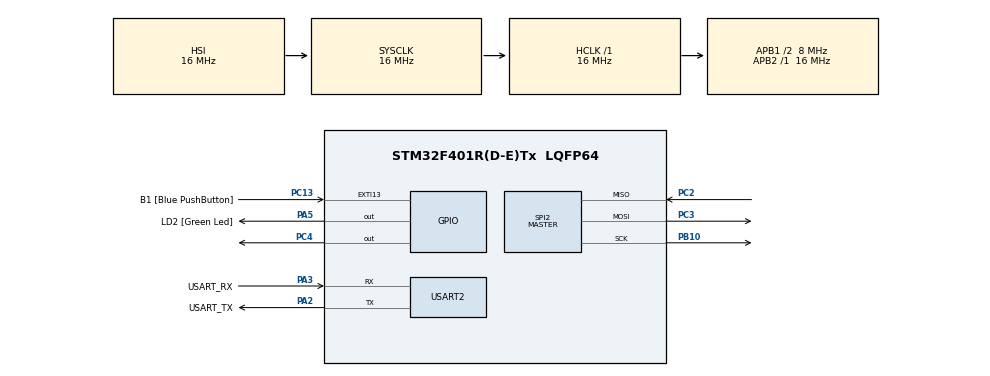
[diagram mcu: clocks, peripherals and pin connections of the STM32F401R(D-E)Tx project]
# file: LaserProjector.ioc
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FREERTOS.Mutexes01=AnimationBufferMutex,Dynamic,NULL
FREERTOS.Tasks01=ildaTransferTas,0,128,ILDATransferTask,Default,NULL,Dynamic,NULL,NULL;ildaDeviceDrive,-3,128,ILDADeviceDriver,Default,NULL,Dynamic,NULL,NULL
Mcu.Family=STM32F4
Mcu.Name=STM32F401R(D-E)Tx
Mcu.Package=LQFP64
NVIC.PriorityGroup=NVIC_PRIORITYGROUP_4
NVIC.TIM1_UP_TIM10_IRQn=true\:0\:0\:false\:false\:true\:false\:false\:true
NVIC.TimeBase=TIM1_UP_TIM10_IRQn
NVIC.TimeBaseIP=TIM1
PA13.GPIO_Label=TMS
PA13.Mode=Serial_Wire
PA13.Signal=SYS_JTMS-SWDIO
PA14.GPIO_Label=TCK
PA14.Mode=Serial_Wire
PA14.Signal=SYS_JTCK-SWCLK
PA2.GPIO_Label=USART_TX
PA2.GPIO_Mode=GPIO_MODE_AF_PP
PA2.GPIO_PuPd=GPIO_NOPULL
PA2.GPIO_Speed=GPIO_SPEED_FREQ_LOW
PA2.Mode=Asynchronous
PA2.Signal=USART2_TX
PA3.GPIO_Label=USART_RX
PA3.GPIO_Mode=GPIO_MODE_AF_PP
PA3.GPIO_PuPd=GPIO_NOPULL
PA3.GPIO_Speed=GPIO_SPEED_FREQ_LOW
PA3.Mode=Asynchronous
PA3.Signal=USART2_RX
PA5.GPIO_Label=LD2 [Green Led]
PA5.GPIO_Mode=GPIO_MODE_OUTPUT_PP
PA5.GPIO_PuPd=GPIO_NOPULL
PA5.GPIO_Speed=GPIO_SPEED_FREQ_LOW
PA5.Signal=GPIO_Output
PB10.Mode=Full_Duplex_Master
PB10.Signal=SPI2_SCK
PB3.GPIO_Label=SWO
PB3.Signal=SYS_JTDO-SWO
PC13-ANTI_TAMP.GPIO_Label=B1 [Blue PushButton]
PC13-ANTI_TAMP.GPIO_ModeDefaultEXTI=GPIO_MODE_IT_FALLING
PC13-ANTI_TAMP.GPIO_PuPd=GPIO_NOPULL
PC13-ANTI_TAMP.Signal=GPXTI13
PC14-OSC32_IN.Mode=LSE-External-Oscillator
PC14-OSC32_IN.Signal=RCC_OSC32_IN
PC15-OSC32_OUT.Mode=LSE-External-Oscillator
PC15-OSC32_OUT.Signal=RCC_OSC32_OUT
PC2.Mode=Full_Duplex_Master
PC2.Signal=SPI2_MISO
PC3.Mode=Full_Duplex_Master
PC3.Signal=SPI2_MOSI
PC4.Signal=GPIO_Output
PH0\ -\ OSC_IN.Mode=HSE-External-Clock-Source
PH0\ -\ OSC_IN.Signal=RCC_OSC_IN
PH1\ -\ OSC_OUT.Mode=HSE-External-Clock-Source
PH1\ -\ OSC_OUT.Signal=RCC_OSC_OUT
ProjectManager.HeapSize=0x200
ProjectManager.StackSize=0x400
ProjectManager.TargetToolchain=SW4STM32
RCC.48MHZClocksFreq_Value=48000000
RCC.AHBFreq_Value=16000000
RCC.APB1CLKDivider=RCC_HCLK_DIV2
RCC.APB1Freq_Value=8000000
RCC.APB1TimFreq_Value=16000000
RCC.APB2Freq_Value=16000000
RCC.APB2TimFreq_Value=16000000
RCC.CortexFreq_Value=16000000
RCC.HCLKFreq_Value=16000000
RCC.HSE_VALUE=8000000
RCC.HSI_VALUE=16000000
RCC.PLLM=4
RCC.PLLN=72
RCC.PLLP=RCC_PLLP_DIV4
RCC.PLLQ=3
RCC.PLLSourceVirtual=RCC_PLLSOURCE_HSE
RCC.SYSCLKFreq_VALUE=16000000
RCC.VCOOutputFreq_Value=144000000
SPI2.Direction=SPI_DIRECTION_2LINES
SPI2.Mode=SPI_MODE_MASTER
SPI2.VirtualType=VM_MASTER
USART2.VirtualMode=VM_ASYNC
VP_FREERTOS_VS_CMSIS_V1.Mode=CMSIS_V1
VP_SYS_VS_tim1.Mode=TIM1
board=NUCLEO-F401RE

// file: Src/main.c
/* USER CODE BEGIN Header */
/**
 ******************************************************************************
 * @file           : main.c
 * @brief          : Main program body
 ******************************************************************************
 * @attention
 *
 * <h2><center>&copy; Copyright (c) 2019 STMicroelectronics.
 * All rights reserved.</center></h2>
 *
 * This software component is licensed by ST under Ultimate Liberty license
 * SLA0044, the "License"; You may not use this file except in compliance with
 * the License. You may obtain a copy of the License at:
 *                             www.st.com/SLA0044
 *
 ******************************************************************************
 */
/* USER CODE END Header */

#include "main.h"
#include "cmsis_os.h"

/* USER CODE BEGIN Includes */
#include "cobs.h"
/* USER CODE END Includes */

/* USER CODE BEGIN PM */
#define READ_TIMEOUT 1000
/* USER CODE END PM */

SPI_HandleTypeDef hspi2;

UART_HandleTypeDef huart2;

osThreadId ildaTransferTasHandle;
osThreadId ildaDeviceDriveHandle;
osMutexId AnimationBufferMutexHandle;

void SystemClock_Config(void);
static void MX_GPIO_Init(void);
static void MX_USART2_UART_Init(void);
static void MX_SPI2_Init(void);
void ILDATransferTask(void const * argument);
void ILDADeviceDriver(void const * argument);

int main(void)
{

  /* MCU Configuration--------------------------------------------------------*/

  /* Reset of all peripherals, Initializes the Flash interface and the Systick. */
  HAL_Init();

  /* Configure the system clock */
  SystemClock_Config();

  /* Initialize all configured peripherals */
  MX_GPIO_Init();
  MX_USART2_UART_Init();
  MX_SPI2_Init();

  /* Create the mutex(es) */
  /* definition and creation of AnimationBufferMutex */
  osMutexDef(AnimationBufferMutex);
  AnimationBufferMutexHandle = osMutexCreate(osMutex(AnimationBufferMutex));

  /* Create the thread(s) */
  /* definition and creation of ildaTransferTas */
  osThreadDef(ildaTransferTas, ILDATransferTask, osPriorityNormal, 0, 128);
  ildaTransferTasHandle = osThreadCreate(osThread(ildaTransferTas), NULL);

  /* definition and creation of ildaDeviceDrive */
  osThreadDef(ildaDeviceDrive, ILDADeviceDriver, osPriorityIdle, 0, 128);
  ildaDeviceDriveHandle = osThreadCreate(osThread(ildaDeviceDrive), NULL);

  /* Start scheduler */
  osKernelStart();

  /* We should never get here as control is now taken by the scheduler */

  /* Infinite loop */
	while (1) {

	}
}

void SystemClock_Config(void)
{
  RCC_OscInitTypeDef RCC_OscInitStruct = {0};
  RCC_ClkInitTypeDef RCC_ClkInitStruct = {0};

  /** Configure the main internal regulator output voltage
  */
  __HAL_RCC_PWR_CLK_ENABLE();
  __HAL_PWR_VOLTAGESCALING_CONFIG(PWR_REGULATOR_VOLTAGE_SCALE2);
  /** Initializes the CPU, AHB and APB busses clocks
  */
  RCC_OscInitStruct.OscillatorType = RCC_OSCILLATORTYPE_HSI;
  RCC_OscInitStruct.HSIState = RCC_HSI_ON;
  RCC_OscInitStruct.HSICalibrationValue = RCC_HSICALIBRATION_DEFAULT;
  RCC_OscInitStruct.PLL.PLLState = RCC_PLL_NONE;
  if (HAL_RCC_OscConfig(&RCC_OscInitStruct) != HAL_OK)
  {
    Error_Handler();
  }
  /** Initializes the CPU, AHB and APB busses clocks
  */
  RCC_ClkInitStruct.ClockType = RCC_CLOCKTYPE_HCLK|RCC_CLOCKTYPE_SYSCLK
                              |RCC_CLOCKTYPE_PCLK1|RCC_CLOCKTYPE_PCLK2;
  RCC_ClkInitStruct.SYSCLKSource = RCC_SYSCLKSOURCE_HSI;
  RCC_ClkInitStruct.AHBCLKDivider = RCC_SYSCLK_DIV1;
  RCC_ClkInitStruct.APB1CLKDivider = RCC_HCLK_DIV2;
  RCC_ClkInitStruct.APB2CLKDivider = RCC_HCLK_DIV1;

  if (HAL_RCC_ClockConfig(&RCC_ClkInitStruct, FLASH_LATENCY_0) != HAL_OK)
  {
    Error_Handler();
  }
}

static void MX_SPI2_Init(void)
{

  /* SPI2 parameter configuration*/
  hspi2.Instance = SPI2;
  hspi2.Init.Mode = SPI_MODE_MASTER;
  hspi2.Init.Direction = SPI_DIRECTION_2LINES;
  hspi2.Init.DataSize = SPI_DATASIZE_8BIT;
  hspi2.Init.CLKPolarity = SPI_POLARITY_LOW;
  hspi2.Init.CLKPhase = SPI_PHASE_1EDGE;
  hspi2.Init.NSS = SPI_NSS_SOFT;
  hspi2.Init.BaudRatePrescaler = SPI_BAUDRATEPRESCALER_2;
  hspi2.Init.FirstBit = SPI_FIRSTBIT_MSB;
  hspi2.Init.TIMode = SPI_TIMODE_DISABLE;
  hspi2.Init.CRCCalculation = SPI_CRCCALCULATION_DISABLE;
  hspi2.Init.CRCPolynomial = 10;
  if (HAL_SPI_Init(&hspi2) != HAL_OK)
  {
    Error_Handler();
  }

}

static void MX_USART2_UART_Init(void)
{

  huart2.Instance = USART2;
  huart2.Init.BaudRate = 115200;
  huart2.Init.WordLength = UART_WORDLENGTH_8B;
  huart2.Init.StopBits = UART_STOPBITS_1;
  huart2.Init.Parity = UART_PARITY_NONE;
  huart2.Init.Mode = UART_MODE_TX_RX;
  huart2.Init.HwFlowCtl = UART_HWCONTROL_NONE;
  huart2.Init.OverSampling = UART_OVERSAMPLING_16;
  if (HAL_UART_Init(&huart2) != HAL_OK)
  {
    Error_Handler();
  }

}

static void MX_GPIO_Init(void)
{
  GPIO_InitTypeDef GPIO_InitStruct = {0};

  /* GPIO Ports Clock Enable */
  __HAL_RCC_GPIOC_CLK_ENABLE();
  __HAL_RCC_GPIOH_CLK_ENABLE();
  __HAL_RCC_GPIOA_CLK_ENABLE();
  __HAL_RCC_GPIOB_CLK_ENABLE();

  /*Configure GPIO pin Output Level */
  HAL_GPIO_WritePin(LD2_GPIO_Port, LD2_Pin, GPIO_PIN_RESET);

  /*Configure GPIO pin Output Level */
  HAL_GPIO_WritePin(GPIOC, GPIO_PIN_4, GPIO_PIN_RESET);

  /*Configure GPIO pin : B1_Pin */
  GPIO_InitStruct.Pin = B1_Pin;
  GPIO_InitStruct.Mode = GPIO_MODE_IT_FALLING;
  GPIO_InitStruct.Pull = GPIO_NOPULL;
  HAL_GPIO_Init(B1_GPIO_Port, &GPIO_InitStruct);

  /*Configure GPIO pin : LD2_Pin */
  GPIO_InitStruct.Pin = LD2_Pin;
  GPIO_InitStruct.Mode = GPIO_MODE_OUTPUT_PP;
  GPIO_InitStruct.Pull = GPIO_NOPULL;
  GPIO_InitStruct.Speed = GPIO_SPEED_FREQ_LOW;
  HAL_GPIO_Init(LD2_GPIO_Port, &GPIO_InitStruct);

  /*Configure GPIO pin : PC4 */
  GPIO_InitStruct.Pin = GPIO_PIN_4;
  GPIO_InitStruct.Mode = GPIO_MODE_OUTPUT_PP;
  GPIO_InitStruct.Pull = GPIO_NOPULL;
  GPIO_InitStruct.Speed = GPIO_SPEED_FREQ_LOW;
  HAL_GPIO_Init(GPIOC, &GPIO_InitStruct);

}

void ILDATransferTask(void const * argument)
{

  /* USER CODE BEGIN 5 */
	uint8_t inbuf[32];
	uint8_t decbuf[12];
	uint8_t * p = inbuf;
	int i = 0;

	HAL_GPIO_WritePin(LD2_GPIO_Port, LD2_Pin, GPIO_PIN_RESET);
	/* Infinite loop */
	for (;;) {

		HAL_StatusTypeDef ret = HAL_UART_Receive(&huart2, p, 1, READ_TIMEOUT);
		if(ret != HAL_OK){
			HAL_GPIO_WritePin(LD2_GPIO_Port, LD2_Pin, GPIO_PIN_SET);
			continue;
		}else{
			HAL_GPIO_WritePin(LD2_GPIO_Port, LD2_Pin, GPIO_PIN_RESET);
		}

		if(*p == '\x00'){
			cobs_decode_result decr = cobs_decode(decbuf, 12, inbuf, i);

			if(decr.status == COBS_DECODE_OK){

				//HAL_GPIO_WritePin(LD2_GPIO_Port, LD2_Pin, GPIO_PIN_SET);
			}else{
				//HAL_GPIO_WritePin(LD2_GPIO_Port, LD2_Pin, GPIO_PIN_RESET);
			}
			p = inbuf;
			i = 0;
		}else{
			p++;i++;
		}

	}
  /* USER CODE END 5 */
}

void ILDADeviceDriver(void const * argument)
{
  for(;;)
  {
    osDelay(1);
  }
}

void HAL_TIM_PeriodElapsedCallback(TIM_HandleTypeDef *htim)
{
  if (htim->Instance == TIM1) {
    HAL_IncTick();
  }
}

void Error_Handler(void)
{
}

/************************ (C) COPYRIGHT STMicroelectronics *****END OF FILE****/
